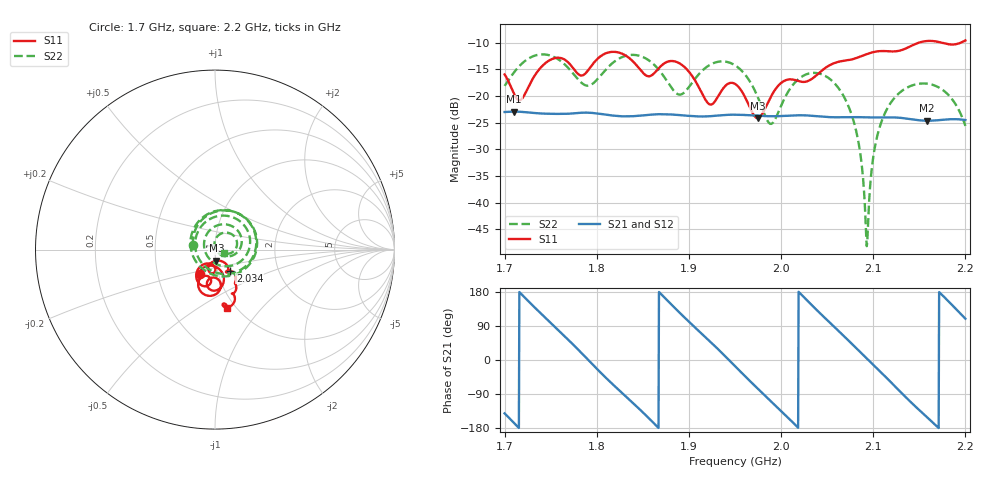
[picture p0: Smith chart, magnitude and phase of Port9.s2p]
# Hz S RI R 50
! CMT, CMT808U, 21440046, 21.4.3/4
! Date: 11/17/2025 2:49:09 PM
! Data: Format (Calibration Info)
! Freq	S11:Re/Im(F2)	S41:Re/Im(F2)	S14:Re/Im(F2)	S44:Re/Im(F2)
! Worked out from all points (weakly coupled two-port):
!   1001 points, 1.7 GHz to 2.2 GHz, reference 50 ohm
!   highest |S21| = -22.92 dB at 1.71 GHz (marker M1); lowest = -24.6 dB at 2.159 GHz (marker M2)
!   lowest |S11| = -24.1 dB at 1.974 GHz (marker M3), VSWR 1.13, Z = 50.4 - j6.23 ohm
!   |S11| at or under -10 dB: start of sweep to 2.149 GHz; 2.174 GHz to 2.195 GHz (20.65 MHz wide, 0.945 % of centre)
!   |S22| runs from -48.1 to -12.2 dB; largest |S21 - S12| = 0.00019
!   S11 on the Smith chart (normalised r, x): 1.7 GHz: 0.81, -0.22; 2.034 GHz: 1.15, -0.28; 2.2 GHz: 0.92, -0.67
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1.7e9  -0.0861 -0.1341  -0.055 -0.0448  -0.0551 -0.0447  -0.1222 0.0245
1.7105e9  -0.0475 -0.0923  -0.0696 -0.0163  -0.0697 -0.0162  -0.095 0.1385
1.7295e9  0.0422 -0.1334  -0.0579 0.0388  -0.0579 0.0389  0.0919 0.2145
1.75e9  0.0252 -0.2179  -0.00932 0.0676  -0.00925 0.0677  0.2341 0.0494
1.7835e9  -0.00678 -0.1556  0.0662 0.0221  0.0663 0.022  -0.0403 -0.1268
1.8025e9  0.0248 -0.2289  0.0597 -0.0333  0.0597 -0.0334  -0.1344 0.0664
1.8245e9  -0.0654 -0.2464  0.0108 -0.0639  0.0107 -0.0639  0.0485 0.2202
1.8465e9  -0.0816 -0.1599  -0.0421 -0.0501  -0.0421 -0.0501  0.2267 0.0733
1.867e9  -0.022 -0.1798  -0.0676 -0.000898  -0.0677 -0.000802  0.1328 -0.1184
1.899e9  -0.1043 -0.1382  -0.0151 0.0636  -0.015 0.0636  -0.1104 0.0428
1.923e9  -0.0274 -0.0787  0.0428 0.0486  0.0429 0.0486  0.0533 0.1893
1.95e9  -0.0296 -0.1268  0.0643 -0.0186  0.0642 -0.0188  0.1935 0.0184
1.9745e9  0.00785 -0.0616  0.0168 -0.0632  0.0167 -0.0633  0.0388 -0.0909
1.99e9  0.0626 -0.0811  -0.0234 -0.0603  -0.0236 -0.0603  -0.0528 -0.0162
2.0335e9  0.0853 -0.1175  -0.0531 0.0381  -0.0531 0.0382  0.1188 0.1139
2.075e9  0.1113 -0.1887  0.0434 0.0464  0.0435 0.0464  0.0622 -0.0382
2.0855e9  0.1174 -0.2022  0.0589 0.0236  0.0589 0.0235  0.0218 -0.0217
2.093e9  0.1182 -0.2173  0.0631 0.00442  0.0631 0.00431  0.00366 0.00141
2.1025e9  0.111 -0.2361  0.0598 -0.02  0.0598 -0.0201  -0.00296 0.0356
2.117e9  0.0941 -0.2455  0.0378 -0.0506  0.0377 -0.0507  0.0186 0.0792
2.1585e9  0.0809 -0.3182  -0.0515 -0.0282  -0.0516 -0.0282  0.1205 0.0507
2.2e9  0.0691 -0.3249  -0.0194 0.0564  -0.0193 0.0564  0.0485 -0.0202
